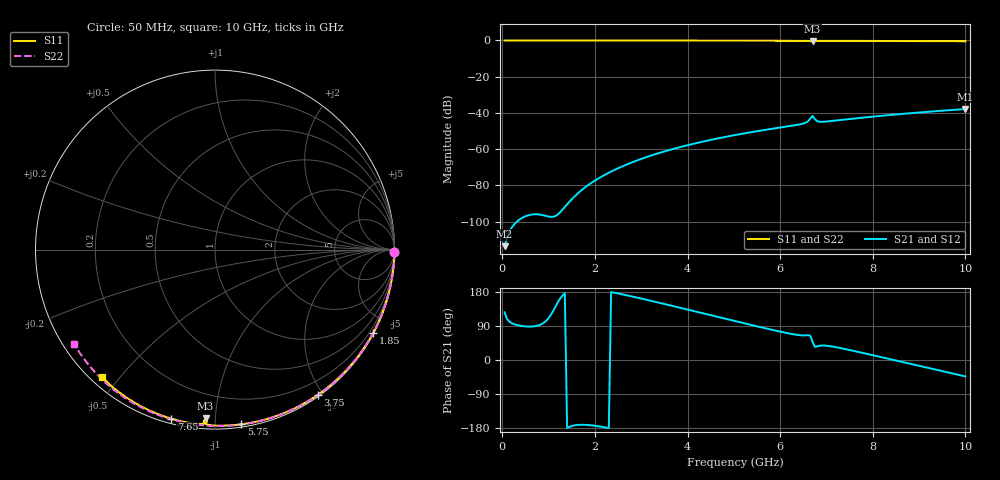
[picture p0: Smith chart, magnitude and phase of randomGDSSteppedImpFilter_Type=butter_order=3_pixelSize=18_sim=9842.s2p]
! freq	dB(S11)	phase(S11)	dB(S12)	phase(S12)
!  dB(S21)	phase(S21)	dB(S22)	phase(S22)
!S-par simulation data
#  GHz  S  DB  R 50
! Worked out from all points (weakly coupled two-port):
!   200 points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, 50 MHz to 10 GHz, reference 50 ohm
!   highest |S21| = -37.87 dB at 10 GHz (marker M1); lowest = -113.6 dB at 50 MHz (marker M2)
!   lowest |S11| = -0.5 dB at 6.7 GHz (marker M3), VSWR 32.35, Z = 2.92 - j47.2 ohm
!   |S11| at or under -10 dB: nowhere
!   |S22| runs from -0.5 to 0.0 dB; largest |S21 - S12| = 0
!   S11 on the Smith chart (normalised r, x): 50 MHz: open; 1.85 GHz: 0.04, -4.06; 3.75 GHz: 0.02, -1.93; 5.75 GHz: 0.02, -1.16; 7.65 GHz: 0.02, -0.77; 10 GHz: 0.03, -0.45
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0.05  -0.00 -0.8  -113.62 125.8  -113.62 125.8  -0.00 -0.9
0.9  -0.02 -13.6  -96.62 98.6  -96.62 98.6  -0.02 -15.2
1.75  -0.03 -26.2  -81.91 -170.9  -81.91 -170.9  -0.04 -29.3
1.85  -0.04 -27.7  -79.98 -171.6  -79.98 -171.6  -0.04 -30.9
2.15  -0.04 -32.1  -75.11 -176.3  -75.11 -176.3  -0.05 -35.8
2.5  -0.05 -37.2  -70.58 175.6  -70.58 175.6  -0.05 -41.4
2.9  -0.06 -42.9  -66.37 164.9  -66.37 164.9  -0.06 -47.8
3.4  -0.07 -50.0  -62.07 150.7  -62.07 150.7  -0.07 -55.6
3.75  -0.07 -54.8  -59.52 140.5  -59.52 140.5  -0.08 -60.9
4.35  -0.09 -63.0  -55.77 122.7  -55.77 122.7  -0.10 -70.0
5.05  -0.11 -72.3  -52.14 102.0  -52.14 102.0  -0.12 -80.2
5.75  -0.14 -81.4  -49.09 81.7  -49.09 81.7  -0.15 -90.1
6.5  -0.18 -91.2  -45.89 64.8  -45.89 64.8  -0.19 -100.4
6.6  -0.23 -92.8  -44.72 65.5  -44.72 65.5  -0.20 -101.8
6.7  -0.54 -93.2  -41.67 47.7  -41.67 47.7  -0.20 -103.1
6.75  -0.35 -92.7  -43.50 34.9  -43.50 34.9  -0.20 -103.8
6.8  -0.26 -93.5  -44.61 36.1  -44.61 36.1  -0.21 -104.5
6.85  -0.23 -94.3  -44.91 37.6  -44.91 37.6  -0.21 -105.2
7.65  -0.24 -104.4  -42.98 22.3  -42.98 22.3  -0.26 -115.8
8.35  -0.29 -112.7  -41.22 2.9  -41.22 2.9  -0.32 -124.8
9.2  -0.36 -122.5  -39.37 -21.0  -39.37 -21.0  -0.40 -135.8
10  -0.45 -131.5  -37.87 -43.3  -37.87 -43.3  -0.49 -146.0
